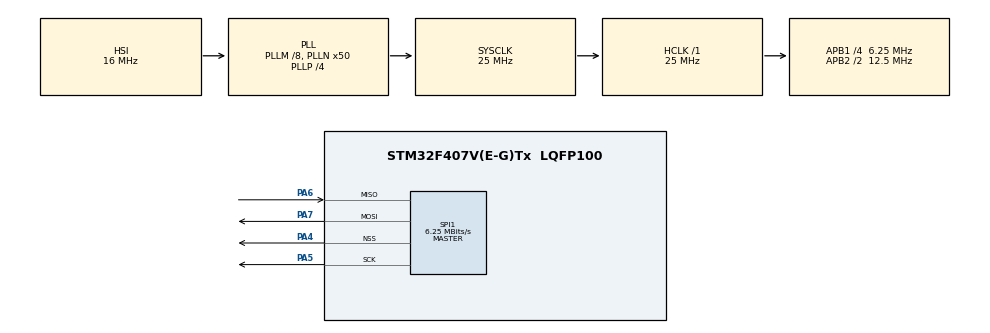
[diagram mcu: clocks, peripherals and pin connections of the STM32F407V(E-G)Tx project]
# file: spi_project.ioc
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Mcu.Family=STM32F4
Mcu.Name=STM32F407V(E-G)Tx
Mcu.Package=LQFP100
NVIC.PriorityGroup=NVIC_PRIORITYGROUP_0
PA4.Mode=NSS_Signal_Hard_Output
PA4.Signal=SPI1_NSS
PA5.Mode=Full_Duplex_Master
PA5.Signal=SPI1_SCK
PA6.Mode=Full_Duplex_Master
PA6.Signal=SPI1_MISO
PA7.Mode=Full_Duplex_Master
PA7.Signal=SPI1_MOSI
ProjectManager.HeapSize=0x200
ProjectManager.StackSize=0x400
ProjectManager.TargetToolchain=STM32CubeIDE
RCC.48MHZClocksFreq_Value=14285714.285714285
RCC.AHBFreq_Value=25000000
RCC.APB1CLKDivider=RCC_HCLK_DIV4
RCC.APB1Freq_Value=6250000
RCC.APB1TimFreq_Value=12500000
RCC.APB2CLKDivider=RCC_HCLK_DIV2
RCC.APB2Freq_Value=12500000
RCC.APB2TimFreq_Value=25000000
RCC.CortexFreq_Value=25000000
RCC.HCLKFreq_Value=25000000
RCC.HSE_VALUE=8000000
RCC.HSI_VALUE=16000000
RCC.LSE_VALUE=32768
RCC.PLLM=8
RCC.PLLN=50
RCC.PLLP=RCC_PLLP_DIV4
RCC.PLLQ=7
RCC.SYSCLKFreq_VALUE=25000000
RCC.SYSCLKSource=RCC_SYSCLKSOURCE_PLLCLK
RCC.VCOOutputFreq_Value=100000000
SPI1.CalculateBaudRate=6.25 MBits/s
SPI1.Direction=SPI_DIRECTION_2LINES
SPI1.Mode=SPI_MODE_MASTER
SPI1.VirtualNSS=VM_NSSHARD
SPI1.VirtualType=VM_MASTER
board=STM32F407G-DISC1

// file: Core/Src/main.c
/* USER CODE BEGIN Header */
/**
  ******************************************************************************
  * @file           : main.c
  * @brief          : Main program body
  ******************************************************************************
  * @attention
  *
  * Copyright (c) 2024 STMicroelectronics.
  * All rights reserved.
  *
  * This software is licensed under terms that can be found in the LICENSE file
  * in the root directory of this software component.
  * If no LICENSE file comes with this software, it is provided AS-IS.
  *
  ******************************************************************************
  */
/* USER CODE END Header */
#include "main.h"

/* USER CODE BEGIN Includes */
#include <string.h>
/* USER CODE END Includes */

/* USER CODE BEGIN PD */
#define SPIMASTERCODE
//#define SPISLAVECODE

#ifdef SPIMASTERCODE
#define SPI_TRANS_MSG_SIZE 15
#define SPI_RECEIV_MSG_SIZE 16
#define SPI_TRANS_TIMEOUT 23
#define SPI_RECEIV_TIMEOUT 24
#endif

#ifdef SPISLAVECODE
#define SPI_TRANS_MSG_SIZE 16
#define SPI_RECEIV_MSG_SIZE 15
#define SPI_TRANS_TIMEOUT 24
#define SPI_RECEIV_TIMEOUT 23
#endif
/* USER CODE END PD */

SPI_HandleTypeDef hspi1;

/* USER CODE BEGIN PV */
#ifdef SPIMASTERCODE
uint8_t SpiTransBuffer[SPI_TRANS_MSG_SIZE] = "spi trans frame";
uint8_t SpiReceivBuffer[SPI_RECEIV_MSG_SIZE];
#endif

#ifdef SPISLAVECODE
uint8_t SpiTransBuffer[SPI_TRANS_MSG_SIZE] = "spi receiv frame";
uint8_t SpiReceivBuffer[SPI_RECEIV_MSG_SIZE];
#endif
/* USER CODE END PV */

void SystemClock_Config(void);
static void MX_GPIO_Init(void);
static void MX_SPI1_Init(void);

int main(void)
{
  /* USER CODE BEGIN 1 */
  #ifdef SPISLAVECODE
  uint8_t comp_result = 0;
  #endif
  /* USER CODE END 1 */

  /* MCU Configuration--------------------------------------------------------*/

  /* Reset of all peripherals, Initializes the Flash interface and the Systick. */
  HAL_Init();

  /* Configure the system clock */
  SystemClock_Config();

  /* Initialize all configured peripherals */
  MX_GPIO_Init();
  MX_SPI1_Init();
  /* USER CODE BEGIN 2 */
  #ifdef SPIMASTERCODE
  HAL_SPI_Transmit(&hspi1, SpiTransBuffer, SPI_TRANS_MSG_SIZE, HAL_MAX_DELAY);
  #endif
  /* USER CODE END 2 */

  /* Infinite loop */
  /* USER CODE BEGIN WHILE */
  while (1)
  {
	 HAL_SPI_Receive(&hspi1, SpiReceivBuffer, SPI_RECEIV_MSG_SIZE, HAL_MAX_DELAY);
     #ifdef SPISLAVECODE
	 comp_result = strcmp("spi trans frame", (char *) SpiReceivBuffer);
	 if( 0 == comp_result )
	 {
		HAL_SPI_Transmit(&hspi1, SpiTransBuffer, SPI_TRANS_MSG_SIZE, HAL_MAX_DELAY);
	 }
     #endif
    /* USER CODE END WHILE */

  }
}

void SystemClock_Config(void)
{
  RCC_OscInitTypeDef RCC_OscInitStruct = {0};
  RCC_ClkInitTypeDef RCC_ClkInitStruct = {0};

  /** Configure the main internal regulator output voltage
  */
  __HAL_RCC_PWR_CLK_ENABLE();
  __HAL_PWR_VOLTAGESCALING_CONFIG(PWR_REGULATOR_VOLTAGE_SCALE1);

  /** Initializes the RCC Oscillators according to the specified parameters
  * in the RCC_OscInitTypeDef structure.
  */
  RCC_OscInitStruct.OscillatorType = RCC_OSCILLATORTYPE_HSI;
  RCC_OscInitStruct.HSIState = RCC_HSI_ON;
  RCC_OscInitStruct.HSICalibrationValue = RCC_HSICALIBRATION_DEFAULT;
  RCC_OscInitStruct.PLL.PLLState = RCC_PLL_ON;
  RCC_OscInitStruct.PLL.PLLSource = RCC_PLLSOURCE_HSI;
  RCC_OscInitStruct.PLL.PLLM = 8;
  RCC_OscInitStruct.PLL.PLLN = 50;
  RCC_OscInitStruct.PLL.PLLP = RCC_PLLP_DIV4;
  RCC_OscInitStruct.PLL.PLLQ = 7;
  if (HAL_RCC_OscConfig(&RCC_OscInitStruct) != HAL_OK)
  {
    Error_Handler();
  }

  /** Initializes the CPU, AHB and APB buses clocks
  */
  RCC_ClkInitStruct.ClockType = RCC_CLOCKTYPE_HCLK|RCC_CLOCKTYPE_SYSCLK
                              |RCC_CLOCKTYPE_PCLK1|RCC_CLOCKTYPE_PCLK2;
  RCC_ClkInitStruct.SYSCLKSource = RCC_SYSCLKSOURCE_PLLCLK;
  RCC_ClkInitStruct.AHBCLKDivider = RCC_SYSCLK_DIV1;
  RCC_ClkInitStruct.APB1CLKDivider = RCC_HCLK_DIV4;
  RCC_ClkInitStruct.APB2CLKDivider = RCC_HCLK_DIV2;

  if (HAL_RCC_ClockConfig(&RCC_ClkInitStruct, FLASH_LATENCY_0) != HAL_OK)
  {
    Error_Handler();
  }
}

static void MX_SPI1_Init(void)
{

  /* SPI1 parameter configuration*/
  hspi1.Instance = SPI1;
  hspi1.Init.Mode = SPI_MODE_MASTER;
  hspi1.Init.Direction = SPI_DIRECTION_2LINES;
  hspi1.Init.DataSize = SPI_DATASIZE_8BIT;
  hspi1.Init.CLKPolarity = SPI_POLARITY_LOW;
  hspi1.Init.CLKPhase = SPI_PHASE_1EDGE;
  hspi1.Init.NSS = SPI_NSS_HARD_OUTPUT;
  hspi1.Init.BaudRatePrescaler = SPI_BAUDRATEPRESCALER_2;
  hspi1.Init.FirstBit = SPI_FIRSTBIT_MSB;
  hspi1.Init.TIMode = SPI_TIMODE_DISABLE;
  hspi1.Init.CRCCalculation = SPI_CRCCALCULATION_DISABLE;
  hspi1.Init.CRCPolynomial = 10;
  if (HAL_SPI_Init(&hspi1) != HAL_OK)
  {
    Error_Handler();
  }

}

static void MX_GPIO_Init(void)
{

  /* GPIO Ports Clock Enable */
  __HAL_RCC_GPIOA_CLK_ENABLE();

}

void Error_Handler(void)
{
  __disable_irq();
  while (1)
  {
  }
}
